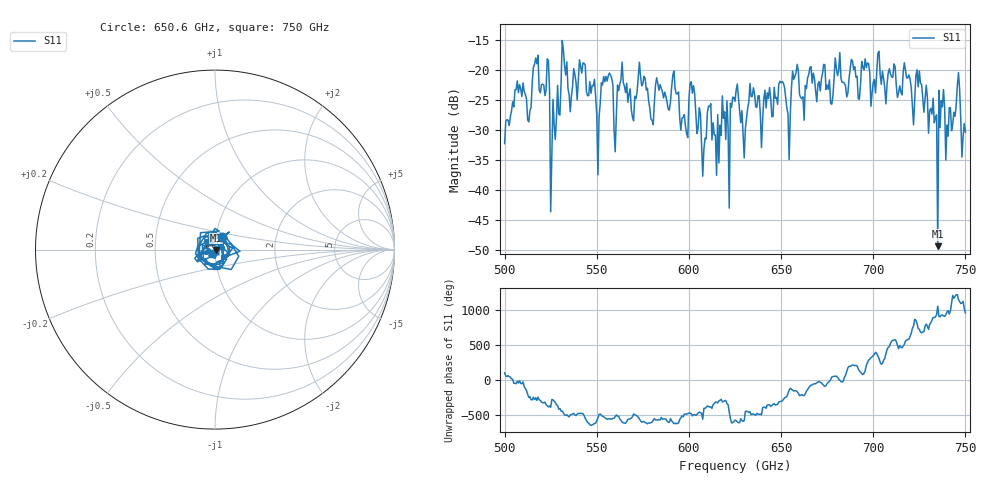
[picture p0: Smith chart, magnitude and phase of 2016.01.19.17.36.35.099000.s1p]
!Created with skrf (http://scikit-rf.org).
# GHz S RI R 50.0
!freq ReS11 ImS11
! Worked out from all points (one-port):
!   401 points, 500 GHz to 750 GHz, reference 50 ohm
!   lowest |S11| = -49.4 dB at 735 GHz (marker M1), VSWR 1.01, Z = 50.3 - j0.135 ohm
!   |S11| at or under -10 dB: start of sweep to end of sweep
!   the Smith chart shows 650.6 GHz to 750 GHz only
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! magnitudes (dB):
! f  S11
! 500 GHz  -32.3
! 506.9 GHz  -21.8
! 513.1 GHz  -28.6
! 516.9 GHz  -18.0
! 523.1 GHz  -18.1
! 526.2 GHz  -24.9
! 531.2 GHz  -15.1
! 542.5 GHz  -18.8
! 550.6 GHz  -37.5
! 553.8 GHz  -21.1
! 560.6 GHz  -27.6
! 562.5 GHz  -22.3
! 593.8 GHz  -24.0
! 598.1 GHz  -29.4
! 601.9 GHz  -23.9
! 608.1 GHz  -33.2
! 621.2 GHz  -29.6
! 625 GHz  -25.2
! 629.4 GHz  -30.6
! 634.4 GHz  -24.4
! 650.6 GHz  -21.9
! 653.8 GHz  -27.3
! 656.2 GHz  -20.2
! 687.5 GHz  -19.8
! 718.8 GHz  -21.3
! 735 GHz  -49.4
! 745.6 GHz  -22.6
! 750 GHz  -30.4
